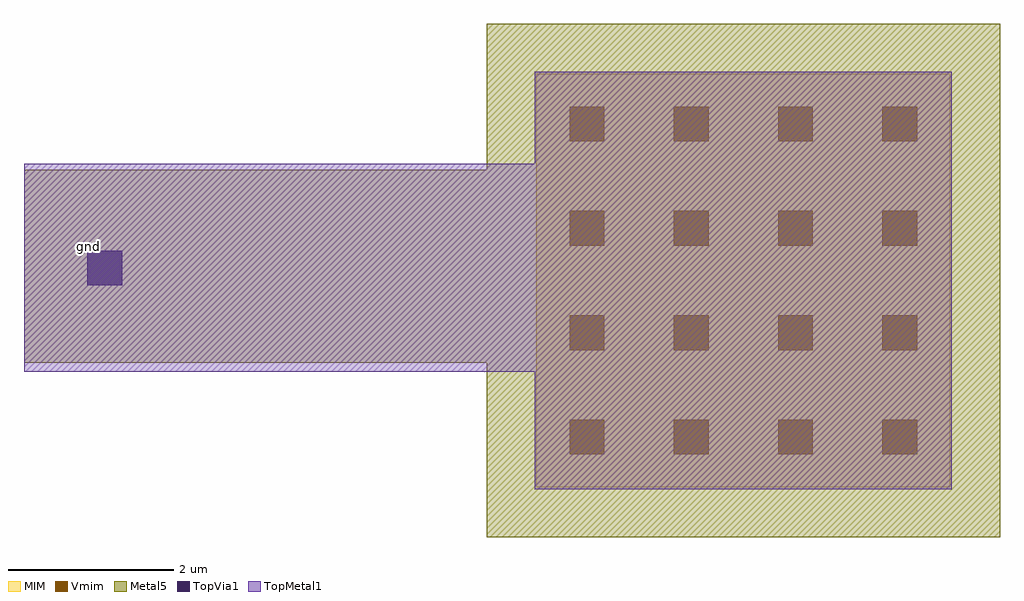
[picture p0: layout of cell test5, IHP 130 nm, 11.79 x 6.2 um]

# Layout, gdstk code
import gdstk
lib = gdstk.Library(unit=1e-6, precision=1e-09)
def R(c, l, rs):  # rectangles x0, y0, x1, y1
    for r in rs: c.add(gdstk.rectangle(r[:2], r[2:], *l))
def A(c, l, x, y, w, h, nx, ny, dx, dy):  # array of equal rectangles
    R(c, l, [(x+i*dx, y+j*dy, x+i*dx+w, y+j*dy+h) for i in range(nx) for j in range(ny)])
MIM = (36, 0)
Metal5 = (67, 0)
TopVia1 = (125, 0)
TopMetal1 = (126, 0)
Vmim = (129, 0)

cmim_1 = lib.new_cell('cmim$1')
R(cmim_1, MIM, [(0,0,5,5)])
R(cmim_1, Metal5, [(-0.6,-0.6,5.6,5.6)])
R(cmim_1, TopMetal1, [(-0.02,-0.02,5.02,5.02)])
A(cmim_1, Vmim, 0.4, 0.4, 0.42, 0.42, 4, 4, 1.26, 1.26)

test5 = lib.new_cell('test5')
R(test5, Metal5, [(-6.59,1.855,0.15,4.185)])
R(test5, TopVia1, [(-5.83,2.79,-5.41,3.21)])
R(test5, TopMetal1, [(-6.595,1.75,1.485,4.26), (-5.83,2.788,-5.41,3.208)])
test5.add(gdstk.Reference(cmim_1, (-0.405,0.35)))
test5.add(gdstk.Label('gnd', (-5.82,3.255), layer=67, texttype=25))

lib.write_gds('test5.gds')
